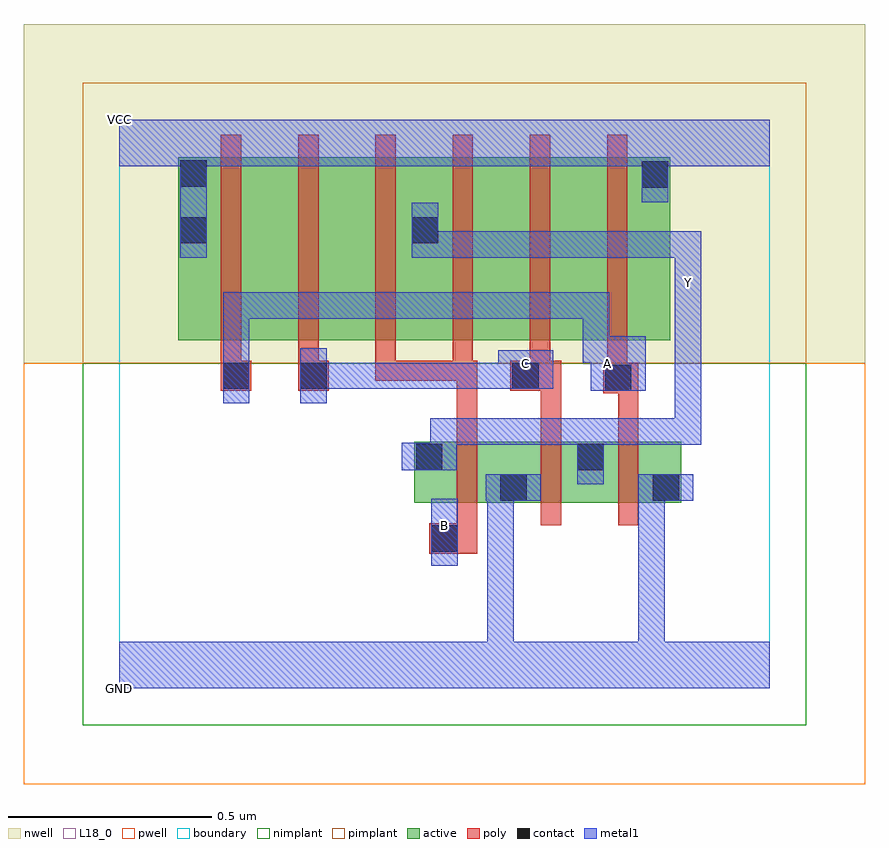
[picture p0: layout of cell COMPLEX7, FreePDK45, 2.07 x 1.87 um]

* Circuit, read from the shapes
.subckt COMPLEX7 A B C GND VCC Y
M1 GND B Y VSUBS nfet w=0.15u l=0.05u
M2 Y C GND VSUBS nfet w=0.15u l=0.05u
M3 GND A Y VSUBS nfet w=0.15u l=0.05u
M4 n1 A VCC n2 pfet w=0.45u l=0.05u
M5 n3 C n1 n2 pfet w=0.45u l=0.05u
M6 Y B n3 n2 pfet w=0.45u l=0.05u
M7 n4 B Y n2 pfet w=0.45u l=0.05u
M8 n5 C n4 n2 pfet w=0.45u l=0.05u
M9 VCC A n5 n2 pfet w=0.45u l=0.05u
.ends

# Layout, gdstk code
import gdstk
lib = gdstk.Library(unit=1e-6, precision=1e-09)
def R(c, l, rs):  # rectangles x0, y0, x1, y1
    for r in rs: c.add(gdstk.rectangle(r[:2], r[2:], *l))
def A(c, l, x, y, w, h, nx, ny, dx, dy):  # array of equal rectangles
    R(c, l, [(x+i*dx, y+j*dy, x+i*dx+w, y+j*dy+h) for i in range(nx) for j in range(ny)])
active = (1, 0)
pwell = (2, 0)
nwell = (3, 0)
nimplant = (4, 0)
pimplant = (5, 0)
poly = (9, 0)
contact = (10, 0)
metal1 = (11, 0)
L18_0 = (18, 0)
boundary = (235, 0)

complex7 = lib.new_cell('COMPLEX7')
R(complex7, active, [(0.725,0.457,0.8,0.607), (0.725,0.457,1.007,0.607), (0.932,0.457,1.197,0.607), (0.932,0.457,1.007,0.557), (1.122,0.457,1.382,0.607), (1.307,0.457,1.382,0.607), (1.122,0.532,1.197,0.607), (0.145,0.857,0.37,1.307), (0.145,0.857,0.22,1.305), (0.37,0.857,0.56,1.307), (0.56,0.857,0.79,1.307), (0.715,0.857,0.94,1.307), (0.715,0.857,0.79,1.2), (0.94,0.857,1.13,1.307), (1.13,0.857,1.355,1.307), (1.28,0.857,1.355,1.307)])
R(complex7, pwell, [(-0.235,-0.235,1.835,0.8)])
R(complex7, nwell, [(-0.235,0.8,1.835,1.635)])
R(complex7, nimplant, [(-0.09,-0.09,1.69,0.8)])
R(complex7, pimplant, [(-0.09,0.8,1.69,1.49)])
A(complex7, poly, 0.25, 0.757, 0.05, 0.095, 5, 1, 0.19, 0)
A(complex7, poly, 0.25, 0.802, 0.05, 0.56, 6, 1, 0.19, 0)
R(complex7, poly, [(0.762,0.332,0.88,0.407), (0.83,0.357,0.88,0.452), (0.83,0.402,0.88,0.662), (1.037,0.402,1.087,0.662), (1.227,0.402,1.277,0.662), (0.83,0.612,0.88,0.807), (1.037,0.612,1.087,0.782), (1.227,0.612,1.277,0.777), (1.19,0.727,1.277,0.802), (0.25,0.732,0.325,0.807), (0.44,0.732,0.515,0.807), (0.962,0.732,1.087,0.807), (1.2,0.752,1.25,0.852), (0.63,0.757,0.68,0.807), (0.63,0.757,0.87,0.807), (0.82,0.757,0.87,0.807), (0.82,0.757,0.87,0.807), (0.82,0.757,0.88,0.807)])
R(complex7, contact, [(0.767,0.337,0.832,0.402), (0.937,0.462,1.002,0.527), (1.312,0.462,1.377,0.527), (0.73,0.537,0.795,0.602), (1.127,0.537,1.192,0.602), (1.195,0.732,1.26,0.797), (0.255,0.737,0.32,0.802), (0.445,0.737,0.51,0.802), (0.967,0.737,1.032,0.802), (0.15,1.095,0.215,1.16), (0.72,1.095,0.785,1.16), (1.285,1.232,1.35,1.297), (0.15,1.235,0.215,1.3)])
R(complex7, metal1, [(0,0,1.6,0.115), (0.905,0.05,0.97,0.115), (0.905,0.05,0.97,0.115), (0.905,0.05,0.97,0.115), (0.905,0.05,0.97,0.115), (0.905,0.05,0.97,0.115), (0.905,0.05,0.97,0.115), (0.905,0.05,0.97,0.115), (0.905,0.05,0.97,0.115), (0.905,0.05,0.97,0.527), (1.277,0.05,1.342,0.115), (1.277,0.05,1.342,0.115), (1.277,0.05,1.342,0.115), (1.277,0.05,1.342,0.115), (1.277,0.05,1.342,0.115), (1.277,0.05,1.342,0.115), (1.277,0.05,1.342,0.115), (1.277,0.05,1.342,0.115), (1.277,0.05,1.342,0.527), (0.767,0.302,0.832,0.467), (0.902,0.462,1.037,0.527), (1.277,0.462,1.412,0.527), (1.127,0.502,1.192,0.665), (0.695,0.537,0.83,0.605), (0.765,0.54,0.83,0.605), (0.765,0.54,0.83,0.665), (0.765,0.6,0.997,0.665), (0.932,0.6,0.997,0.665), (0.932,0.6,0.997,0.665), (0.932,0.6,0.997,0.665), (0.932,0.6,1.192,0.665), (1.127,0.6,1.205,0.665), (1.14,0.6,1.205,0.665), (1.14,0.6,1.432,0.665), (1.367,0.6,1.432,0.665), (1.367,0.6,1.432,0.997), (0.255,0.702,0.32,0.837), (0.445,0.702,0.51,0.837), (1.16,0.732,1.295,0.867), (0.445,0.737,0.51,0.802), (0.445,0.737,0.51,0.802), (0.445,0.737,0.647,0.802), (0.582,0.737,0.647,0.802), (0.582,0.737,0.83,0.802), (0.765,0.737,0.83,0.802), (0.765,0.737,0.83,0.802), (0.765,0.737,0.83,0.802), (0.765,0.737,0.997,0.802), (0.932,0.737,0.997,0.802), (0.932,0.737,0.997,0.802), (0.932,0.737,1.067,0.832), (0.255,0.772,0.32,0.837), (0.255,0.772,0.32,0.837), (0.255,0.772,0.32,0.975), (1.14,0.802,1.205,0.867), (1.14,0.802,1.225,0.867), (1.14,0.802,1.205,0.975), (0.255,0.91,0.32,0.975), (0.255,0.91,0.457,0.975), (0.392,0.91,0.457,0.975), (0.392,0.91,0.457,0.975), (0.392,0.91,0.457,0.975), (0.392,0.91,0.692,0.975), (0.627,0.91,0.692,0.975), (0.627,0.91,0.692,0.975), (0.627,0.91,0.692,0.975), (0.627,0.91,0.86,0.975), (0.795,0.91,0.86,0.975), (0.795,0.91,0.997,0.975), (0.932,0.91,0.997,0.975), (0.932,0.91,0.997,0.975), (0.932,0.91,0.997,0.975), (0.932,0.91,1.205,0.975), (1.14,0.91,1.205,0.975), (1.367,0.932,1.432,1.067), (1.367,1.002,1.432,1.125), (0.15,1.06,0.215,1.335), (0.72,1.06,0.785,1.195), (0.72,1.06,0.86,1.125), (0.795,1.06,0.86,1.125), (0.795,1.06,0.997,1.125), (0.932,1.06,0.997,1.125), (0.932,1.06,0.997,1.125), (0.932,1.06,0.997,1.125), (0.932,1.06,1.135,1.125), (1.07,1.06,1.135,1.125), (1.07,1.06,1.432,1.125), (1.367,1.06,1.432,1.125), (1.367,1.06,1.432,1.125), (1.367,1.06,1.432,1.125), (1.367,1.06,1.432,1.125), (1.367,1.06,1.432,1.125), (1.285,1.197,1.35,1.332), (1.285,1.267,1.35,1.35), (0.15,1.27,0.215,1.35), (0,1.285,1.6,1.4)])
R(complex7, L18_0, [(0,0,1.6,0.115), (0.905,0.05,0.97,0.115), (0.905,0.05,0.97,0.115), (0.905,0.05,0.97,0.115), (0.905,0.05,0.97,0.115), (0.905,0.05,0.97,0.115), (0.905,0.05,0.97,0.115), (0.905,0.05,0.97,0.115), (0.905,0.05,0.97,0.115), (0.905,0.05,0.97,0.527), (1.277,0.05,1.342,0.115), (1.277,0.05,1.342,0.115), (1.277,0.05,1.342,0.115), (1.277,0.05,1.342,0.115), (1.277,0.05,1.342,0.115), (1.277,0.05,1.342,0.115), (1.277,0.05,1.342,0.115), (1.277,0.05,1.342,0.115), (1.277,0.05,1.342,0.527), (0.767,0.302,0.832,0.467), (0.767,0.367,0.832,0.432), (0.902,0.462,1.037,0.527), (1.277,0.462,1.412,0.527), (1.127,0.502,1.192,0.665), (0.695,0.537,0.83,0.605), (0.765,0.54,0.83,0.605), (0.765,0.54,0.83,0.665), (0.765,0.6,0.997,0.665), (0.932,0.6,0.997,0.665), (0.932,0.6,0.997,0.665), (0.932,0.6,0.997,0.665), (0.932,0.6,1.192,0.665), (1.127,0.6,1.205,0.665), (1.14,0.6,1.205,0.665), (1.14,0.6,1.432,0.665), (1.367,0.6,1.432,0.665), (1.367,0.6,1.432,0.997), (0.255,0.702,0.32,0.837), (0.445,0.702,0.51,0.837), (1.16,0.732,1.295,0.867), (0.445,0.737,0.51,0.802), (0.445,0.737,0.51,0.802), (0.445,0.737,0.647,0.802), (0.582,0.737,0.647,0.802), (0.582,0.737,0.83,0.802), (0.765,0.737,0.83,0.802), (0.765,0.737,0.83,0.802), (0.765,0.737,0.83,0.802), (0.765,0.737,0.997,0.802), (0.932,0.737,0.997,0.802), (0.932,0.737,0.997,0.802), (0.932,0.737,1.067,0.832), (0.967,0.767,1.032,0.832), (1.167,0.767,1.232,0.832), (0.255,0.772,0.32,0.837), (0.255,0.772,0.32,0.837), (0.255,0.772,0.32,0.975), (1.14,0.802,1.205,0.867), (1.14,0.802,1.205,0.975), (1.14,0.802,1.225,0.867), (0.255,0.91,0.32,0.975), (0.255,0.91,0.457,0.975), (0.392,0.91,0.457,0.975), (0.392,0.91,0.457,0.975), (0.392,0.91,0.457,0.975), (0.392,0.91,0.692,0.975), (0.627,0.91,0.692,0.975), (0.627,0.91,0.692,0.975), (0.627,0.91,0.692,0.975), (0.627,0.91,0.86,0.975), (0.795,0.91,0.86,0.975), (0.795,0.91,0.997,0.975), (0.932,0.91,0.997,0.975), (0.932,0.91,0.997,0.975), (0.932,0.91,0.997,0.975), (0.932,0.91,1.205,0.975), (1.14,0.91,1.205,0.975), (1.367,0.932,1.432,1.067), (1.367,0.967,1.432,1.032), (1.367,1.002,1.432,1.125), (0.15,1.06,0.215,1.335), (0.72,1.06,0.785,1.195), (0.72,1.06,0.86,1.125), (0.795,1.06,0.86,1.125), (0.795,1.06,0.997,1.125), (0.932,1.06,0.997,1.125), (0.932,1.06,0.997,1.125), (0.932,1.06,0.997,1.125), (0.932,1.06,1.135,1.125), (1.07,1.06,1.135,1.125), (1.07,1.06,1.432,1.125), (1.367,1.06,1.432,1.125), (1.367,1.06,1.432,1.125), (1.367,1.06,1.432,1.125), (1.367,1.06,1.432,1.125), (1.367,1.06,1.432,1.125), (1.285,1.197,1.35,1.332), (1.285,1.267,1.35,1.35), (0.15,1.27,0.215,1.35), (0,1.285,1.6,1.4)])
R(complex7, boundary, [(0,0,1.6,1.4)])
complex7.add(gdstk.Label('A', (1.2,0.8), layer=11, texttype=0))
complex7.add(gdstk.Label('B', (0.8,0.4), layer=11, texttype=0))
complex7.add(gdstk.Label('C', (1,0.8), layer=11, texttype=0))
complex7.add(gdstk.Label('Y', (1.4,1), layer=11, texttype=0))
complex7.add(gdstk.Label('VCC', (0,1.4), layer=11, texttype=0))
complex7.add(gdstk.Label('GND', (0,0), layer=11, texttype=0))

lib.write_gds('COMPLEX7.gds')
